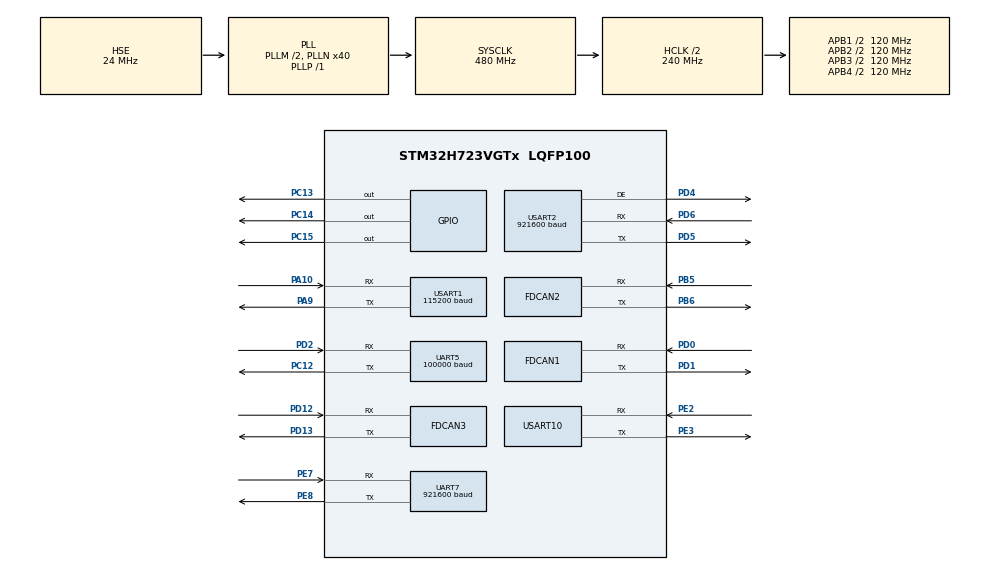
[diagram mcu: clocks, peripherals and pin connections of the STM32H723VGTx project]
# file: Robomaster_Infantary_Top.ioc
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CORTEX_M7.CPU_DCache=Enabled
CORTEX_M7.CPU_ICache=Enabled
CORTEX_M7.default_mode_Activation=1
Dma.Request0=UART7_RX
Dma.Request1=USART2_RX
Dma.Request2=USART2_TX
Dma.Request3=USART10_RX
Dma.Request4=USART10_TX
Dma.Request5=USART1_RX
Dma.Request6=USART1_TX
Dma.Request7=UART7_TX
Dma.Request8=UART5_RX
Dma.Request9=UART5_TX
Dma.UART5_RX.8.Direction=DMA_PERIPH_TO_MEMORY
Dma.UART5_RX.8.EventEnable=DISABLE
Dma.UART5_RX.8.FIFOMode=DMA_FIFOMODE_DISABLE
Dma.UART5_RX.8.Instance=DMA2_Stream0
Dma.UART5_RX.8.MemDataAlignment=DMA_MDATAALIGN_BYTE
Dma.UART5_RX.8.MemInc=DMA_MINC_ENABLE
Dma.UART5_RX.8.Mode=DMA_NORMAL
Dma.UART5_RX.8.PeriphDataAlignment=DMA_PDATAALIGN_BYTE
Dma.UART5_RX.8.PeriphInc=DMA_PINC_DISABLE
Dma.UART5_RX.8.Polarity=HAL_DMAMUX_REQ_GEN_RISING
Dma.UART5_RX.8.Priority=DMA_PRIORITY_LOW
Dma.UART5_RX.8.RequestNumber=1
Dma.UART5_RX.8.SignalID=NONE
Dma.UART5_RX.8.SyncEnable=DISABLE
Dma.UART5_RX.8.SyncPolarity=HAL_DMAMUX_SYNC_NO_EVENT
Dma.UART5_RX.8.SyncRequestNumber=1
Dma.UART5_RX.8.SyncSignalID=NONE
Dma.UART5_TX.9.Direction=DMA_MEMORY_TO_PERIPH
Dma.UART5_TX.9.EventEnable=DISABLE
Dma.UART5_TX.9.FIFOMode=DMA_FIFOMODE_DISABLE
Dma.UART5_TX.9.Instance=DMA2_Stream1
Dma.UART5_TX.9.MemDataAlignment=DMA_MDATAALIGN_BYTE
Dma.UART5_TX.9.MemInc=DMA_MINC_ENABLE
Dma.UART5_TX.9.Mode=DMA_NORMAL
Dma.UART5_TX.9.PeriphDataAlignment=DMA_PDATAALIGN_BYTE
Dma.UART5_TX.9.PeriphInc=DMA_PINC_DISABLE
Dma.UART5_TX.9.Polarity=HAL_DMAMUX_REQ_GEN_RISING
Dma.UART5_TX.9.Priority=DMA_PRIORITY_LOW
Dma.UART5_TX.9.RequestNumber=1
Dma.UART5_TX.9.SignalID=NONE
Dma.UART5_TX.9.SyncEnable=DISABLE
Dma.UART5_TX.9.SyncPolarity=HAL_DMAMUX_SYNC_NO_EVENT
Dma.UART5_TX.9.SyncRequestNumber=1
Dma.UART5_TX.9.SyncSignalID=NONE
Dma.UART7_RX.0.Direction=DMA_PERIPH_TO_MEMORY
Dma.UART7_RX.0.EventEnable=DISABLE
Dma.UART7_RX.0.FIFOMode=DMA_FIFOMODE_DISABLE
Dma.UART7_RX.0.Instance=DMA1_Stream0
Dma.UART7_RX.0.MemDataAlignment=DMA_MDATAALIGN_BYTE
Dma.UART7_RX.0.MemInc=DMA_MINC_ENABLE
Dma.UART7_RX.0.Mode=DMA_NORMAL
Dma.UART7_RX.0.PeriphDataAlignment=DMA_PDATAALIGN_BYTE
Dma.UART7_RX.0.PeriphInc=DMA_PINC_DISABLE
Dma.UART7_RX.0.Polarity=HAL_DMAMUX_REQ_GEN_RISING
Dma.UART7_RX.0.Priority=DMA_PRIORITY_LOW
Dma.UART7_RX.0.RequestNumber=1
Dma.UART7_RX.0.SignalID=NONE
Dma.UART7_RX.0.SyncEnable=DISABLE
Dma.UART7_RX.0.SyncPolarity=HAL_DMAMUX_SYNC_NO_EVENT
Dma.UART7_RX.0.SyncRequestNumber=1
Dma.UART7_RX.0.SyncSignalID=NONE
Dma.UART7_TX.7.Direction=DMA_MEMORY_TO_PERIPH
Dma.UART7_TX.7.EventEnable=DISABLE
Dma.UART7_TX.7.FIFOMode=DMA_FIFOMODE_DISABLE
Dma.UART7_TX.7.Instance=DMA1_Stream7
Dma.UART7_TX.7.MemDataAlignment=DMA_MDATAALIGN_BYTE
Dma.UART7_TX.7.MemInc=DMA_MINC_ENABLE
Dma.UART7_TX.7.Mode=DMA_NORMAL
Dma.UART7_TX.7.PeriphDataAlignment=DMA_PDATAALIGN_BYTE
Dma.UART7_TX.7.PeriphInc=DMA_PINC_DISABLE
Dma.UART7_TX.7.Polarity=HAL_DMAMUX_REQ_GEN_RISING
Dma.UART7_TX.7.Priority=DMA_PRIORITY_LOW
Dma.UART7_TX.7.RequestNumber=1
Dma.UART7_TX.7.SignalID=NONE
Dma.UART7_TX.7.SyncEnable=DISABLE
Dma.UART7_TX.7.SyncPolarity=HAL_DMAMUX_SYNC_NO_EVENT
Dma.UART7_TX.7.SyncRequestNumber=1
Dma.UART7_TX.7.SyncSignalID=NONE
Dma.USART10_RX.3.Direction=DMA_PERIPH_TO_MEMORY
Dma.USART10_RX.3.EventEnable=DISABLE
Dma.USART10_RX.3.FIFOMode=DMA_FIFOMODE_DISABLE
Dma.USART10_RX.3.Instance=DMA1_Stream1
Dma.USART10_RX.3.MemDataAlignment=DMA_MDATAALIGN_BYTE
Dma.USART10_RX.3.MemInc=DMA_MINC_ENABLE
Dma.USART10_RX.3.Mode=DMA_NORMAL
Dma.USART10_RX.3.PeriphDataAlignment=DMA_PDATAALIGN_BYTE
Dma.USART10_RX.3.PeriphInc=DMA_PINC_DISABLE
Dma.USART10_RX.3.Polarity=HAL_DMAMUX_REQ_GEN_RISING
Dma.USART10_RX.3.Priority=DMA_PRIORITY_LOW
Dma.USART10_RX.3.RequestNumber=1
Dma.USART10_RX.3.SignalID=NONE
Dma.USART10_RX.3.SyncEnable=DISABLE
Dma.USART10_RX.3.SyncPolarity=HAL_DMAMUX_SYNC_NO_EVENT
Dma.USART10_RX.3.SyncRequestNumber=1
Dma.USART10_RX.3.SyncSignalID=NONE
Dma.USART10_TX.4.Direction=DMA_MEMORY_TO_PERIPH
Dma.USART10_TX.4.EventEnable=DISABLE
Dma.USART10_TX.4.FIFOMode=DMA_FIFOMODE_DISABLE
Dma.USART10_TX.4.Instance=DMA1_Stream2
Dma.USART10_TX.4.MemDataAlignment=DMA_MDATAALIGN_BYTE
Dma.USART10_TX.4.MemInc=DMA_MINC_ENABLE
Dma.USART10_TX.4.Mode=DMA_NORMAL
Dma.USART10_TX.4.PeriphDataAlignment=DMA_PDATAALIGN_BYTE
Dma.USART10_TX.4.PeriphInc=DMA_PINC_DISABLE
Dma.USART10_TX.4.Polarity=HAL_DMAMUX_REQ_GEN_RISING
Dma.USART10_TX.4.Priority=DMA_PRIORITY_LOW
Dma.USART10_TX.4.RequestNumber=1
Dma.USART10_TX.4.SignalID=NONE
Dma.USART10_TX.4.SyncEnable=DISABLE
Dma.USART10_TX.4.SyncPolarity=HAL_DMAMUX_SYNC_NO_EVENT
Dma.USART10_TX.4.SyncRequestNumber=1
Dma.USART10_TX.4.SyncSignalID=NONE
Dma.USART1_RX.5.Direction=DMA_PERIPH_TO_MEMORY
Dma.USART1_RX.5.EventEnable=DISABLE
Dma.USART1_RX.5.FIFOMode=DMA_FIFOMODE_DISABLE
Dma.USART1_RX.5.Instance=DMA1_Stream3
Dma.USART1_RX.5.MemDataAlignment=DMA_MDATAALIGN_BYTE
Dma.USART1_RX.5.MemInc=DMA_MINC_ENABLE
Dma.USART1_RX.5.Mode=DMA_NORMAL
Dma.USART1_RX.5.PeriphDataAlignment=DMA_PDATAALIGN_BYTE
Dma.USART1_RX.5.PeriphInc=DMA_PINC_DISABLE
Dma.USART1_RX.5.Polarity=HAL_DMAMUX_REQ_GEN_RISING
Dma.USART1_RX.5.Priority=DMA_PRIORITY_LOW
Dma.USART1_RX.5.RequestNumber=1
Dma.USART1_RX.5.SignalID=NONE
Dma.USART1_RX.5.SyncEnable=DISABLE
Dma.USART1_RX.5.SyncPolarity=HAL_DMAMUX_SYNC_NO_EVENT
Dma.USART1_RX.5.SyncRequestNumber=1
Dma.USART1_RX.5.SyncSignalID=NONE
Dma.USART1_TX.6.Direction=DMA_MEMORY_TO_PERIPH
Dma.USART1_TX.6.EventEnable=DISABLE
Dma.USART1_TX.6.FIFOMode=DMA_FIFOMODE_DISABLE
Dma.USART1_TX.6.Instance=DMA1_Stream6
Dma.USART1_TX.6.MemDataAlignment=DMA_MDATAALIGN_BYTE
Dma.USART1_TX.6.MemInc=DMA_MINC_ENABLE
Dma.USART1_TX.6.Mode=DMA_NORMAL
Dma.USART1_TX.6.PeriphDataAlignment=DMA_PDATAALIGN_BYTE
Dma.USART1_TX.6.PeriphInc=DMA_PINC_DISABLE
Dma.USART1_TX.6.Polarity=HAL_DMAMUX_REQ_GEN_RISING
Dma.USART1_TX.6.Priority=DMA_PRIORITY_LOW
Dma.USART1_TX.6.RequestNumber=1
Dma.USART1_TX.6.SignalID=NONE
Dma.USART1_TX.6.SyncEnable=DISABLE
Dma.USART1_TX.6.SyncPolarity=HAL_DMAMUX_SYNC_NO_EVENT
Dma.USART1_TX.6.SyncRequestNumber=1
Dma.USART1_TX.6.SyncSignalID=NONE
Dma.USART2_RX.1.Direction=DMA_PERIPH_TO_MEMORY
Dma.USART2_RX.1.EventEnable=DISABLE
Dma.USART2_RX.1.FIFOMode=DMA_FIFOMODE_DISABLE
Dma.USART2_RX.1.Instance=DMA1_Stream4
Dma.USART2_RX.1.MemDataAlignment=DMA_MDATAALIGN_BYTE
Dma.USART2_RX.1.MemInc=DMA_MINC_ENABLE
Dma.USART2_RX.1.Mode=DMA_NORMAL
Dma.USART2_RX.1.PeriphDataAlignment=DMA_PDATAALIGN_BYTE
Dma.USART2_RX.1.PeriphInc=DMA_PINC_DISABLE
Dma.USART2_RX.1.Polarity=HAL_DMAMUX_REQ_GEN_RISING
Dma.USART2_RX.1.Priority=DMA_PRIORITY_LOW
Dma.USART2_RX.1.RequestNumber=1
Dma.USART2_RX.1.SignalID=NONE
Dma.USART2_RX.1.SyncEnable=DISABLE
Dma.USART2_RX.1.SyncPolarity=HAL_DMAMUX_SYNC_NO_EVENT
Dma.USART2_RX.1.SyncRequestNumber=1
Dma.USART2_RX.1.SyncSignalID=NONE
Dma.USART2_TX.2.Direction=DMA_MEMORY_TO_PERIPH
Dma.USART2_TX.2.EventEnable=DISABLE
Dma.USART2_TX.2.FIFOMode=DMA_FIFOMODE_DISABLE
Dma.USART2_TX.2.Instance=DMA1_Stream5
Dma.USART2_TX.2.MemDataAlignment=DMA_MDATAALIGN_BYTE
Dma.USART2_TX.2.MemInc=DMA_MINC_ENABLE
Dma.USART2_TX.2.Mode=DMA_NORMAL
Dma.USART2_TX.2.PeriphDataAlignment=DMA_PDATAALIGN_BYTE
Dma.USART2_TX.2.PeriphInc=DMA_PINC_DISABLE
Dma.USART2_TX.2.Polarity=HAL_DMAMUX_REQ_GEN_RISING
Dma.USART2_TX.2.Priority=DMA_PRIORITY_LOW
Dma.USART2_TX.2.RequestNumber=1
Dma.USART2_TX.2.SignalID=NONE
Dma.USART2_TX.2.SyncEnable=DISABLE
Dma.USART2_TX.2.SyncPolarity=HAL_DMAMUX_SYNC_NO_EVENT
Dma.USART2_TX.2.SyncRequestNumber=1
Dma.USART2_TX.2.SyncSignalID=NONE
FDCAN1.AutoRetransmission=ENABLE
FDCAN1.CalculateBaudRateNominal=1000000
FDCAN1.CalculateTimeBitNominal=1000
FDCAN1.CalculateTimeQuantumNominal=12.5
FDCAN1.DataSyncJumpWidth=10
FDCAN1.DataTimeSeg1=29
FDCAN1.DataTimeSeg2=10
FDCAN1.FrameFormat=FDCAN_FRAME_CLASSIC
FDCAN1.NominalPrescaler=1
FDCAN1.NominalSyncJumpWidth=20
FDCAN1.NominalTimeSeg1=59
FDCAN1.NominalTimeSeg2=20
FDCAN1.ProtocolException=ENABLE
FDCAN1.RxFifo0ElmtsNbr=10
FDCAN1.RxFifo1ElmtsNbr=10
FDCAN1.StdFiltersNbr=3
FDCAN1.TxEventsNbr=10
FDCAN1.TxFifoQueueElmtsNbr=10
FDCAN2.CalculateBaudRateNominal=1000000
FDCAN2.CalculateTimeBitNominal=1000
FDCAN2.CalculateTimeQuantumNominal=12.5
FDCAN2.DataSyncJumpWidth=2
FDCAN2.DataTimeSeg1=13
FDCAN2.DataTimeSeg2=2
FDCAN2.FrameFormat=FDCAN_FRAME_FD_BRS
FDCAN2.MessageRAMOffset=853
FDCAN2.NominalPrescaler=1
FDCAN2.NominalSyncJumpWidth=20
FDCAN2.NominalTimeSeg1=59
FDCAN2.NominalTimeSeg2=20
FDCAN2.ProtocolException=ENABLE
FDCAN2.TxEventsNbr=10
FDCAN3.CalculateBaudRateNominal=1000000
FDCAN3.CalculateTimeBitNominal=1000
FDCAN3.CalculateTimeQuantumNominal=12.5
FDCAN3.DataSyncJumpWidth=2
FDCAN3.DataTimeSeg1=13
FDCAN3.DataTimeSeg2=2
FDCAN3.FrameFormat=FDCAN_FRAME_FD_BRS
FDCAN3.MessageRAMOffset=1706
FDCAN3.NominalPrescaler=1
FDCAN3.NominalSyncJumpWidth=20
FDCAN3.NominalTimeSeg1=59
FDCAN3.NominalTimeSeg2=20
FDCAN3.ProtocolException=ENABLE
FDCAN3.TxEventsNbr=10
FREERTOS.Queues01=IMU_Queue,10,Imu_Rx_Block_t,0,Dynamic,NULL,NULL;Gimbal_Imu_Queue,1,Imu_Pitch_Packet_t,0,Dynamic,NULL,NULL;Mode_Remote_Queue,1,Remote_Mode_Input_t,0,Dynamic,NULL,NULL;Referee_Data_Queue,10,Referee_Event_t,0,Dynamic,NULL,NULL;Mode_Vision_Queue,1,VisionToGimbal_t,0,Dynamic,NULL,NULL;Mode_Referee_Queue,1,Referee_VtmInput_t,0,Dynamic,NULL,NULL;Gimbal_Control_Queue,1,Mode_Control_Command_t,0,Dynamic,NULL,NULL;Can_Motor_Rx_Queue,1,Can_Motor_Rx_Snapshot_t,0,Dynamic,NULL,NULL
FREERTOS.Tasks01=Debug_Task,24,2048,Debug_Task_Handle,Default,NULL,Dynamic,NULL,NULL;IMU_Task,49,1024,IMU_Task_Handle,Default,NULL,Dynamic,NULL,NULL;InputTask,48,1024,InputTask_Handle,Default,NULL,Dynamic,NULL,NULL;CanTask,48,1024,CanTask_Handle,Default,NULL,Dynamic,NULL,NULL;ModeTask,49,1024,ModeTask_Handle,Default,NULL,Dynamic,NULL,NULL;Gimbal_Task,47,1024,Gimbal_Task_Handle,Default,NULL,Dynamic,NULL,NULL
FREERTOS.configMINIMAL_STACK_SIZE=1024
FREERTOS.configTOTAL_HEAP_SIZE=40960
Mcu.Family=STM32H7
Mcu.Name=STM32H723VGTx
Mcu.Package=LQFP100
NVIC.DMA1_Stream0_IRQn=true\:5\:0\:false\:false\:true\:true\:false\:true\:true
NVIC.DMA1_Stream1_IRQn=true\:5\:0\:false\:false\:true\:true\:false\:true\:true
NVIC.DMA1_Stream2_IRQn=true\:5\:0\:false\:false\:true\:true\:false\:true\:true
NVIC.DMA1_Stream3_IRQn=true\:5\:0\:false\:false\:true\:true\:false\:true\:true
NVIC.DMA1_Stream4_IRQn=true\:5\:0\:false\:false\:true\:true\:false\:true\:true
NVIC.DMA1_Stream5_IRQn=true\:5\:0\:false\:false\:true\:true\:false\:true\:true
NVIC.DMA1_Stream6_IRQn=true\:5\:0\:false\:false\:true\:true\:false\:true\:true
NVIC.DMA1_Stream7_IRQn=true\:5\:0\:false\:false\:true\:true\:false\:true\:true
NVIC.DMA2_Stream0_IRQn=true\:5\:0\:false\:false\:true\:true\:false\:true\:true
NVIC.DMA2_Stream1_IRQn=true\:5\:0\:false\:false\:true\:true\:false\:true\:true
NVIC.FDCAN1_IT0_IRQn=true\:5\:0\:false\:false\:true\:true\:true\:true\:true
NVIC.FDCAN1_IT1_IRQn=true\:5\:0\:false\:false\:true\:true\:true\:true\:true
NVIC.FDCAN2_IT0_IRQn=true\:5\:0\:false\:false\:true\:true\:true\:true\:true
NVIC.FDCAN2_IT1_IRQn=true\:5\:0\:false\:false\:true\:true\:true\:true\:true
NVIC.FDCAN_CAL_IRQn=true\:5\:0\:false\:false\:true\:true\:true\:true\:true
NVIC.PriorityGroup=NVIC_PRIORITYGROUP_4
NVIC.TIM6_DAC_IRQn=true\:15\:0\:false\:false\:true\:false\:false\:true\:true
NVIC.TIM7_IRQn=true\:5\:0\:false\:false\:true\:true\:true\:true\:true
NVIC.TimeBase=TIM6_DAC_IRQn
NVIC.TimeBaseIP=TIM6
NVIC.UART5_IRQn=true\:5\:0\:false\:false\:true\:true\:true\:true\:true
NVIC.UART7_IRQn=true\:5\:0\:false\:false\:true\:true\:true\:true\:true
NVIC.USART10_IRQn=true\:5\:0\:false\:false\:true\:true\:true\:true\:true
NVIC.USART1_IRQn=true\:5\:0\:false\:false\:true\:true\:true\:true\:true
NVIC.USART2_IRQn=true\:5\:0\:false\:false\:true\:true\:true\:true\:true
PA10.Mode=Asynchronous
PA10.Signal=USART1_RX
PA13(JTMS/SWDIO).Mode=Serial_Wire
PA13(JTMS/SWDIO).Signal=DEBUG_JTMS-SWDIO
PA14(JTCK/SWCLK).Mode=Serial_Wire
PA14(JTCK/SWCLK).Signal=DEBUG_JTCK-SWCLK
PA9.Mode=Asynchronous
PA9.Signal=USART1_TX
PB5.Mode=FDCAN_Activate
PB5.Signal=FDCAN2_RX
PB6.Mode=FDCAN_Activate
PB6.Signal=FDCAN2_TX
PC12.Mode=Asynchronous
PC12.Signal=UART5_TX
PC13.GPIO_PuPd=GPIO_PULLDOWN
PC13.Signal=GPIO_Output
PC14-OSC32_IN.GPIO_PuPd=GPIO_PULLDOWN
PC14-OSC32_IN.Signal=GPIO_Output
PC15-OSC32_OUT.GPIO_PuPd=GPIO_PULLDOWN
PC15-OSC32_OUT.Signal=GPIO_Output
PD0.Mode=FDCAN_Activate
PD0.Signal=FDCAN1_RX
PD1.Mode=FDCAN_Activate
PD1.Signal=FDCAN1_TX
PD12.Mode=FDCAN_Activate
PD12.Signal=FDCAN3_RX
PD13.Mode=FDCAN_Activate
PD13.Signal=FDCAN3_TX
PD2.Mode=Asynchronous
PD2.Signal=UART5_RX
PD4.Mode=Hardware Flow Control (RS485)
PD4.Signal=USART2_DE
PD5.Mode=Asynchronous
PD5.Signal=USART2_TX
PD6.Mode=Asynchronous
PD6.Signal=USART2_RX
PE2.Mode=Asynchronous
PE2.Signal=USART10_RX
PE3.Mode=Asynchronous
PE3.Signal=USART10_TX
PE7.Mode=Asynchronous
PE7.Signal=UART7_RX
PE8.Mode=Asynchronous
PE8.Signal=UART7_TX
PH0-OSC_IN.Mode=HSE-External-Oscillator
PH0-OSC_IN.Signal=RCC_OSC_IN
PH1-OSC_OUT.Mode=HSE-External-Oscillator
PH1-OSC_OUT.Signal=RCC_OSC_OUT
ProjectManager.HeapSize=0x200
ProjectManager.StackSize=0x800
ProjectManager.TargetToolchain=CMake
RCC.ADCFreq_Value=240000000
RCC.APB1Freq_Value=120000000
RCC.APB2Freq_Value=120000000
RCC.APB3Freq_Value=120000000
RCC.APB4Freq_Value=120000000
RCC.CortexFreq_Value=480000000
RCC.D1PPRE=RCC_APB3_DIV2
RCC.D2PPRE1=RCC_APB1_DIV2
RCC.D2PPRE2=RCC_APB2_DIV2
RCC.D3PPRE=RCC_APB4_DIV2
RCC.DIVM1=2
RCC.DIVM2=2
RCC.DIVM3=2
RCC.DIVN1=40
RCC.DIVN2=40
RCC.DIVN3=40
RCC.DIVP1=1
RCC.DIVQ2=6
RCC.DIVQ3=6
RCC.EnbaleCSS=true
RCC.FDCANCLockSelection=RCC_FDCANCLKSOURCE_PLL2
RCC.HCLKFreq_Value=240000000
RCC.HPRE=RCC_HCLK_DIV2
RCC.HSE_VALUE=24000000
RCC.PLL2FRACN=0
RCC.PLL3FRACN=0
RCC.PLLFRACN=0
RCC.PLLSourceVirtual=RCC_PLLSOURCE_HSE
RCC.SYSCLKFreq_VALUE=480000000
RCC.SYSCLKSource=RCC_SYSCLKSOURCE_PLLCLK
RCC.USBFreq_Value=240000000
TIM7.Prescaler=240-1
UART5.BaudRate=100000
UART5.Parity=PARITY_EVEN
UART5.StopBits=UART_STOPBITS_2
UART5.WordLength=WORDLENGTH_9B
UART7.BaudRate=921600
USART1.BaudRate=115200
USART1.Parity=PARITY_NONE
USART1.StopBits=STOPBITS_1
USART1.VirtualMode-Asynchronous=VM_ASYNC
USART10.VirtualMode=VM_ASYNC
USART2.BaudRate=921600
USART2.VirtualMode-Asynchronous=VM_ASYNC
USART2.VirtualMode-Hardware\ Flow\ Control\ (RS485)=VM_ASYNC
VP_FREERTOS_VS_CMSIS_V2.Mode=CMSIS_V2
VP_MEMORYMAP_VS_MEMORYMAP.Mode=CurAppReg
VP_SYS_VS_tim6.Mode=TIM6
VP_TIM7_VS_ClockSourceINT.Mode=Enable_Timer
board=custom

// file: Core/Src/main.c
/* USER CODE BEGIN Header */
/**
  ******************************************************************************
  * @file           : main.c
  * @brief          : Main program body
  ******************************************************************************
  * @attention
  *
  * Copyright (c) 2026 STMicroelectronics.
  * All rights reserved.
  *
  * This software is licensed under terms that can be found in the LICENSE file
  * in the root directory of this software component.
  * If no LICENSE file comes with this software, it is provided AS-IS.
  *
  ******************************************************************************
  */
/* USER CODE END Header */
#include "main.h"
#include "FreeRTOS.h"
#include "cmsis_os2.h"
#include "dma.h"
#include "fdcan.h"
#include "tim.h"
#include "usart.h"
#include "gpio.h"

/* USER CODE BEGIN Includes */
#include "Interrupt.h"
#include "Can_Motor.h"

/* USER CODE END Includes */

void SystemClock_Config(void);
void PeriphCommonClock_Config(void);
static void MPU_Config(void);
void MX_FREERTOS_Init(void);

int main(void)
{

  /* MPU Configuration--------------------------------------------------------*/
  MPU_Config();

  /* Enable the CPU Cache */

  /* Enable I-Cache---------------------------------------------------------*/
  SCB_EnableICache();

  /* Enable D-Cache---------------------------------------------------------*/
  SCB_EnableDCache();

  /* MCU Configuration--------------------------------------------------------*/

  /* Reset of all peripherals, Initializes the Flash interface and the Systick. */
  HAL_Init();

  /* Configure the system clock */
  SystemClock_Config();

  /* Configure the peripherals common clocks */
  PeriphCommonClock_Config();

  /* Initialize all configured peripherals */
  MX_GPIO_Init();
  MX_DMA_Init();
  MX_FDCAN1_Init();
  MX_FDCAN2_Init();
  MX_FDCAN3_Init();
  MX_UART7_Init();
  MX_USART2_UART_Init();
  MX_TIM7_Init();
  MX_USART1_UART_Init();
  MX_USART10_UART_Init();
  MX_UART5_Init();
  /* USER CODE BEGIN 2 */

  /* 两路 24V 可控电源：PC14=VCC_OUT1_EN，PC13=VCC_OUT2_EN。
   * CubeMX 已将引脚初始设为低电平；此处在外设初始化完成后拉高，导通
   * PMOS 高边开关。仅在 12~24V 输入、接线和负载均确认安全时使用。 */
  HAL_GPIO_WritePin(GPIOC, GPIO_PIN_14 | GPIO_PIN_13 | GPIO_PIN_15, GPIO_PIN_SET);

  if (HAL_TIM_Base_Start(&htim7) != HAL_OK)
  {
     Error_Handler();
  }
  /* USER CODE END 2 */

  /* Init scheduler */
  osKernelInitialize();  /* Call init function for freertos objects (in cmsis_os2.c) */
  MX_FREERTOS_Init();

  /* Start scheduler */
  osKernelStart();

  /* We should never get here as control is now taken by the scheduler */

  /* Infinite loop */
  while (1)
  {

  }
}

void SystemClock_Config(void)
{
  RCC_OscInitTypeDef RCC_OscInitStruct = {0};
  RCC_ClkInitTypeDef RCC_ClkInitStruct = {0};

  /** Supply configuration update enable
  */
  HAL_PWREx_ConfigSupply(PWR_LDO_SUPPLY);

  /** Configure the main internal regulator output voltage
  */
  __HAL_PWR_VOLTAGESCALING_CONFIG(PWR_REGULATOR_VOLTAGE_SCALE0);

  while(!__HAL_PWR_GET_FLAG(PWR_FLAG_VOSRDY)) {}

  /** Initializes the RCC Oscillators according to the specified parameters
  * in the RCC_OscInitTypeDef structure.
  */
  RCC_OscInitStruct.OscillatorType = RCC_OSCILLATORTYPE_HSE;
  RCC_OscInitStruct.HSEState = RCC_HSE_ON;
  RCC_OscInitStruct.PLL.PLLState = RCC_PLL_ON;
  RCC_OscInitStruct.PLL.PLLSource = RCC_PLLSOURCE_HSE;
  RCC_OscInitStruct.PLL.PLLM = 2;
  RCC_OscInitStruct.PLL.PLLN = 40;
  RCC_OscInitStruct.PLL.PLLP = 1;
  RCC_OscInitStruct.PLL.PLLQ = 2;
  RCC_OscInitStruct.PLL.PLLR = 2;
  RCC_OscInitStruct.PLL.PLLRGE = RCC_PLL1VCIRANGE_3;
  RCC_OscInitStruct.PLL.PLLVCOSEL = RCC_PLL1VCOWIDE;
  RCC_OscInitStruct.PLL.PLLFRACN = 0;
  if (HAL_RCC_OscConfig(&RCC_OscInitStruct) != HAL_OK)
  {
    Error_Handler();
  }

  /** Initializes the CPU, AHB and APB buses clocks
  */
  RCC_ClkInitStruct.ClockType = RCC_CLOCKTYPE_HCLK|RCC_CLOCKTYPE_SYSCLK
                              |RCC_CLOCKTYPE_PCLK1|RCC_CLOCKTYPE_PCLK2
                              |RCC_CLOCKTYPE_D3PCLK1|RCC_CLOCKTYPE_D1PCLK1;
  RCC_ClkInitStruct.SYSCLKSource = RCC_SYSCLKSOURCE_PLLCLK;
  RCC_ClkInitStruct.SYSCLKDivider = RCC_SYSCLK_DIV1;
  RCC_ClkInitStruct.AHBCLKDivider = RCC_HCLK_DIV2;
  RCC_ClkInitStruct.APB3CLKDivider = RCC_APB3_DIV2;
  RCC_ClkInitStruct.APB1CLKDivider = RCC_APB1_DIV2;
  RCC_ClkInitStruct.APB2CLKDivider = RCC_APB2_DIV2;
  RCC_ClkInitStruct.APB4CLKDivider = RCC_APB4_DIV2;

  if (HAL_RCC_ClockConfig(&RCC_ClkInitStruct, FLASH_LATENCY_3) != HAL_OK)
  {
    Error_Handler();
  }

  /** Enables the Clock Security System
  */
  HAL_RCC_EnableCSS();
}

void PeriphCommonClock_Config(void)
{
  RCC_PeriphCLKInitTypeDef PeriphClkInitStruct = {0};

  /** Initializes the peripherals clock
  */
  PeriphClkInitStruct.PeriphClockSelection = RCC_PERIPHCLK_FDCAN;
  PeriphClkInitStruct.PLL2.PLL2M = 2;
  PeriphClkInitStruct.PLL2.PLL2N = 40;
  PeriphClkInitStruct.PLL2.PLL2P = 2;
  PeriphClkInitStruct.PLL2.PLL2Q = 6;
  PeriphClkInitStruct.PLL2.PLL2R = 2;
  PeriphClkInitStruct.PLL2.PLL2RGE = RCC_PLL2VCIRANGE_3;
  PeriphClkInitStruct.PLL2.PLL2VCOSEL = RCC_PLL2VCOWIDE;
  PeriphClkInitStruct.PLL2.PLL2FRACN = 0;
  PeriphClkInitStruct.FdcanClockSelection = RCC_FDCANCLKSOURCE_PLL2;
  if (HAL_RCCEx_PeriphCLKConfig(&PeriphClkInitStruct) != HAL_OK)
  {
    Error_Handler();
  }
}

 /* MPU Configuration */

void MPU_Config(void)
{
  MPU_Region_InitTypeDef MPU_InitStruct = {0};

  /* Disables the MPU */
  HAL_MPU_Disable();

  /** Initializes and configures the Region and the memory to be protected
  */
  MPU_InitStruct.Enable = MPU_REGION_ENABLE;
  MPU_InitStruct.Number = MPU_REGION_NUMBER0;
  MPU_InitStruct.BaseAddress = 0x0;
  MPU_InitStruct.Size = MPU_REGION_SIZE_4GB;
  MPU_InitStruct.SubRegionDisable = 0x87;
  MPU_InitStruct.TypeExtField = MPU_TEX_LEVEL0;
  MPU_InitStruct.AccessPermission = MPU_REGION_NO_ACCESS;
  MPU_InitStruct.DisableExec = MPU_INSTRUCTION_ACCESS_DISABLE;
  MPU_InitStruct.IsShareable = MPU_ACCESS_SHAREABLE;
  MPU_InitStruct.IsCacheable = MPU_ACCESS_NOT_CACHEABLE;
  MPU_InitStruct.IsBufferable = MPU_ACCESS_NOT_BUFFERABLE;

  HAL_MPU_ConfigRegion(&MPU_InitStruct);
  /* Enables the MPU */
  HAL_MPU_Enable(MPU_PRIVILEGED_DEFAULT);

}

void HAL_TIM_PeriodElapsedCallback(TIM_HandleTypeDef *htim)
{
  if (htim->Instance == TIM6)
  {
    HAL_IncTick();
  }
}

void Error_Handler(void)
{
  __disable_irq();
  while (1)
  {
  }
}

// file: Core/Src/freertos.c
/* USER CODE BEGIN Header */
/**
  ******************************************************************************
  * File Name          : freertos.c
  * Description        : Code for freertos applications
  ******************************************************************************
  * @attention
  *
  * Copyright (c) 2026 STMicroelectronics.
  * All rights reserved.
  *
  * This software is licensed under terms that can be found in the LICENSE file
  * in the root directory of this software component.
  * If no LICENSE file comes with this software, it is provided AS-IS.
  *
  ******************************************************************************
  */
/* USER CODE END Header */

#include "FreeRTOS.h"
#include "task.h"
#include "main.h"
#include "FreeRTOS.h"
#include "cmsis_os2.h"

/* USER CODE BEGIN Includes */
#include "Task.h"
#include "Interrupt.h"
#include "Imu.h"
#include "Remote.h"
#include "Vision.h"
#include "Refree.h"
#include "Can_Motor.h"
#include "Mode.h"
#include "Debug.h"

/* USER CODE END Includes */

/* Definitions for Debug_Task */
osThreadId_t Debug_TaskHandle;
const osThreadAttr_t Debug_Task_attributes = {
  .name = "Debug_Task",
  .stack_size = 2048 * 4,
  .priority = (osPriority_t) osPriorityNormal,
};
/* Definitions for IMU_Task */
osThreadId_t IMU_TaskHandle;
const osThreadAttr_t IMU_Task_attributes = {
  .name = "IMU_Task",
  .stack_size = 1024 * 4,
  .priority = (osPriority_t) osPriorityRealtime1,
};
/* Definitions for InputTask */
osThreadId_t InputTaskHandle;
const osThreadAttr_t InputTask_attributes = {
  .name = "InputTask",
  .stack_size = 1024 * 4,
  .priority = (osPriority_t) osPriorityRealtime,
};
/* Definitions for CanTask */
osThreadId_t CanTaskHandle;
const osThreadAttr_t CanTask_attributes = {
  .name = "CanTask",
  .stack_size = 1024 * 4,
  .priority = (osPriority_t) osPriorityRealtime,
};
/* Definitions for ModeTask */
osThreadId_t ModeTaskHandle;
const osThreadAttr_t ModeTask_attributes = {
  .name = "ModeTask",
  .stack_size = 1024 * 4,
  .priority = (osPriority_t) osPriorityRealtime1,
};
/* Definitions for Gimbal_Task */
osThreadId_t Gimbal_TaskHandle;
const osThreadAttr_t Gimbal_Task_attributes = {
  .name = "Gimbal_Task",
  .stack_size = 1024 * 4,
  .priority = (osPriority_t) osPriorityHigh7,
};
/* Definitions for IMU_Queue */
osMessageQueueId_t IMU_QueueHandle;
const osMessageQueueAttr_t IMU_Queue_attributes = {
  .name = "IMU_Queue"
};
/* Definitions for Gimbal_Imu_Queue */
osMessageQueueId_t Gimbal_Imu_QueueHandle;
const osMessageQueueAttr_t Gimbal_Imu_Queue_attributes = {
  .name = "Gimbal_Imu_Queue"
};
/* Definitions for Mode_Remote_Queue */
osMessageQueueId_t Mode_Remote_QueueHandle;
const osMessageQueueAttr_t Mode_Remote_Queue_attributes = {
  .name = "Mode_Remote_Queue"
};
/* Definitions for Referee_Data_Queue */
osMessageQueueId_t Referee_Data_QueueHandle;
const osMessageQueueAttr_t Referee_Data_Queue_attributes = {
  .name = "Referee_Data_Queue"
};
/* Definitions for Mode_Vision_Queue */
osMessageQueueId_t Mode_Vision_QueueHandle;
const osMessageQueueAttr_t Mode_Vision_Queue_attributes = {
  .name = "Mode_Vision_Queue"
};
/* Definitions for Mode_Referee_Queue */
osMessageQueueId_t Mode_Referee_QueueHandle;
const osMessageQueueAttr_t Mode_Referee_Queue_attributes = {
  .name = "Mode_Referee_Queue"
};
/* Definitions for Gimbal_Control_Queue */
osMessageQueueId_t Gimbal_Control_QueueHandle;
const osMessageQueueAttr_t Gimbal_Control_Queue_attributes = {
  .name = "Gimbal_Control_Queue"
};
/* Definitions for Can_Motor_Rx_Queue */
osMessageQueueId_t Can_Motor_Rx_QueueHandle;
const osMessageQueueAttr_t Can_Motor_Rx_Queue_attributes = {
  .name = "Can_Motor_Rx_Queue"
};

void Debug_Task_Handle(void *argument);
void IMU_Task_Handle(void *argument);
void InputTask_Handle(void *argument);
void CanTask_Handle(void *argument);
void ModeTask_Handle(void *argument);
void Gimbal_Task_Handle(void *argument);

void MX_FREERTOS_Init(void); /* (MISRA C 2004 rule 8.1) */

void MX_FREERTOS_Init(void) {

  /* Create the queue(s) */
  /* creation of IMU_Queue */
  IMU_QueueHandle = osMessageQueueNew (10, sizeof(Imu_Rx_Block_t), &IMU_Queue_attributes);

  /* creation of Gimbal_Imu_Queue */
  Gimbal_Imu_QueueHandle = osMessageQueueNew (1, sizeof(Imu_Pitch_Packet_t), &Gimbal_Imu_Queue_attributes);

  /* creation of Mode_Remote_Queue */
  Mode_Remote_QueueHandle = osMessageQueueNew (1, sizeof(Remote_Mode_Input_t), &Mode_Remote_Queue_attributes);

  /* creation of Referee_Data_Queue */
  Referee_Data_QueueHandle = osMessageQueueNew (10, sizeof(Referee_Event_t), &Referee_Data_Queue_attributes);

  /* creation of Mode_Vision_Queue */
  Mode_Vision_QueueHandle = osMessageQueueNew (1, sizeof(VisionToGimbal_t), &Mode_Vision_Queue_attributes);

  /* creation of Mode_Referee_Queue */
  Mode_Referee_QueueHandle = osMessageQueueNew (1, sizeof(Referee_VtmInput_t), &Mode_Referee_Queue_attributes);

  /* creation of Gimbal_Control_Queue */
  Gimbal_Control_QueueHandle = osMessageQueueNew (1, sizeof(Mode_Control_Command_t), &Gimbal_Control_Queue_attributes);

  /* creation of Can_Motor_Rx_Queue */
  Can_Motor_Rx_QueueHandle = osMessageQueueNew (1, sizeof(Can_Motor_Rx_Snapshot_t), &Can_Motor_Rx_Queue_attributes);

  /* Create the thread(s) */
  /* creation of Debug_Task */
  Debug_TaskHandle = osThreadNew(Debug_Task_Handle, NULL, &Debug_Task_attributes);

  /* creation of IMU_Task */
  IMU_TaskHandle = osThreadNew(IMU_Task_Handle, NULL, &IMU_Task_attributes);

  /* creation of InputTask */
  InputTaskHandle = osThreadNew(InputTask_Handle, NULL, &InputTask_attributes);

  /* creation of CanTask */
  CanTaskHandle = osThreadNew(CanTask_Handle, NULL, &CanTask_attributes);

  /* creation of ModeTask */
  ModeTaskHandle = osThreadNew(ModeTask_Handle, NULL, &ModeTask_attributes);

  /* creation of Gimbal_Task */
  Gimbal_TaskHandle = osThreadNew(Gimbal_Task_Handle, NULL, &Gimbal_Task_attributes);

}

void Debug_Task_Handle(void *argument)
{
  /* USER CODE BEGIN Debug_Task_Handle */
  Task_DebugTask(argument);
  /* USER CODE END Debug_Task_Handle */
}

void IMU_Task_Handle(void *argument)
{
  /* USER CODE BEGIN IMU_Task_Handle */
  /* Infinite loop */
  Task_IMU_Task(argument);
  /* USER CODE END IMU_Task_Handle */
}

void InputTask_Handle(void *argument)
{
  /* USER CODE BEGIN InputTask_Handle */
  /* Infinite loop */
  Task_InputTask(argument);
  /* USER CODE END InputTask_Handle */
}

void CanTask_Handle(void *argument)
{
  /* USER CODE BEGIN CanTask_Handle */
  /* Infinite loop */
  Task_CanTask(argument);
  /* USER CODE END CanTask_Handle */
}

void ModeTask_Handle(void *argument)
{
  /* USER CODE BEGIN ModeTask_Handle */
  /* Infinite loop */
  Task_ModeTask(argument);
  /* USER CODE END ModeTask_Handle */
}

void Gimbal_Task_Handle(void *argument)
{
  /* USER CODE BEGIN Gimbal_Task_Handle */
  /* Infinite loop */
  Task_Gimbal_Task(argument);
  /* USER CODE END Gimbal_Task_Handle */
}
